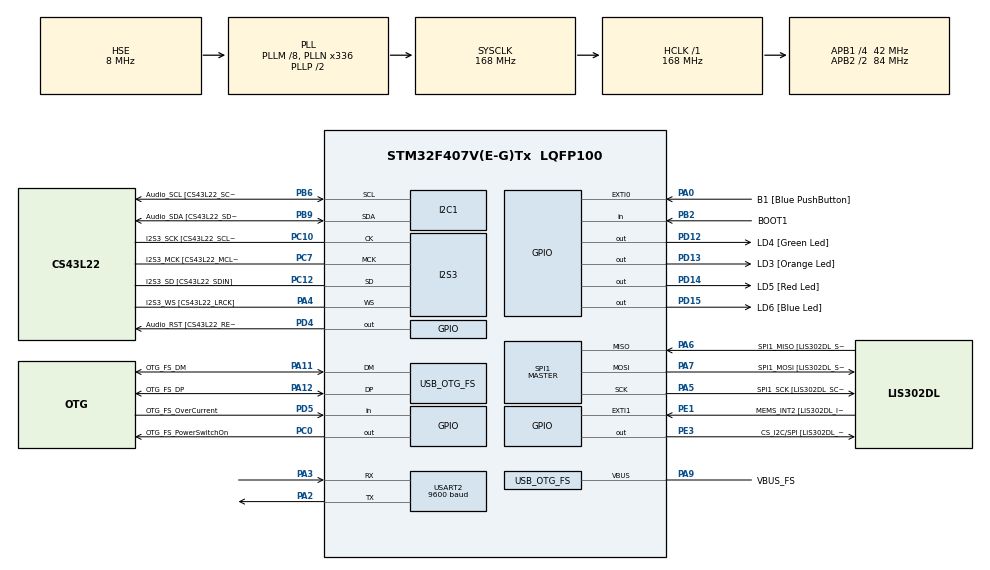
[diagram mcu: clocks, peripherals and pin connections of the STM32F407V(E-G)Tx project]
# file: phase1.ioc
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I2S3.AudioFreq-Half_Duplex_Master=I2S_AUDIOFREQ_96K
I2S3.ErrorAudioFreq=-2.34 %
I2S3.ErrorAudioFreq-Half_Duplex_Master=0.8 %
I2S3.FullDuplexMode=I2S_FULLDUPLEXMODE_DISABLE
I2S3.Instance=SPI$Index
I2S3.RealAudioFreq=93.75 KHz
I2S3.RealAudioFreq-Half_Duplex_Master=96.774 KHz
I2S3.VirtualMode=I2S_MODE_MASTER
Mcu.Family=STM32F4
Mcu.Name=STM32F407V(E-G)Tx
Mcu.Package=LQFP100
NVIC.OTG_FS_IRQn=true\:0\:0\:false\:false\:true\:true\:true\:true
NVIC.PriorityGroup=NVIC_PRIORITYGROUP_0
PA0-WKUP.GPIO_Label=B1 [Blue PushButton]
PA0-WKUP.GPIO_ModeDefaultEXTI=GPIO_MODE_EVT_RISING
PA0-WKUP.GPIO_PuPd=GPIO_NOPULL
PA0-WKUP.Signal=GPXTI0
PA10.GPIO_Label=OTG_FS_ID
PA10.GPIO_Mode=GPIO_MODE_AF_PP
PA10.GPIO_PuPd=GPIO_NOPULL
PA10.GPIO_Speed=GPIO_SPEED_FREQ_LOW
PA10.Signal=USB_OTG_FS_ID
PA11.GPIO_Label=OTG_FS_DM
PA11.GPIO_Mode=GPIO_MODE_AF_PP
PA11.GPIO_PuPd=GPIO_NOPULL
PA11.GPIO_Speed=GPIO_SPEED_FREQ_LOW
PA11.Mode=Host_Only
PA11.Signal=USB_OTG_FS_DM
PA12.GPIO_Label=OTG_FS_DP
PA12.GPIO_Mode=GPIO_MODE_AF_PP
PA12.GPIO_PuPd=GPIO_NOPULL
PA12.GPIO_Speed=GPIO_SPEED_FREQ_LOW
PA12.Mode=Host_Only
PA12.Signal=USB_OTG_FS_DP
PA13.GPIO_Label=SWDIO
PA13.Mode=Serial_Wire
PA13.Signal=SYS_JTMS-SWDIO
PA14.GPIO_Label=SWCLK
PA14.Mode=Serial_Wire
PA14.Signal=SYS_JTCK-SWCLK
PA2.Mode=Asynchronous
PA2.Signal=USART2_TX
PA3.Mode=Asynchronous
PA3.Signal=USART2_RX
PA4.GPIO_Label=I2S3_WS [CS43L22_LRCK]
PA4.GPIO_Mode=GPIO_MODE_AF_PP
PA4.GPIO_PuPd=GPIO_NOPULL
PA4.GPIO_Speed=GPIO_SPEED_FREQ_LOW
PA4.Mode=Half_Duplex_Master
PA4.Signal=I2S3_WS
PA5.GPIO_Label=SPI1_SCK [LIS302DL_SCL/SPC]
PA5.GPIO_Mode=GPIO_MODE_AF_PP
PA5.GPIO_PuPd=GPIO_NOPULL
PA5.GPIO_Speed=GPIO_SPEED_FREQ_LOW
PA5.Mode=Full_Duplex_Master
PA5.Signal=SPI1_SCK
PA6.GPIO_Label=SPI1_MISO [LIS302DL_SDO]
PA6.GPIO_Mode=GPIO_MODE_AF_PP
PA6.GPIO_PuPd=GPIO_NOPULL
PA6.GPIO_Speed=GPIO_SPEED_FREQ_LOW
PA6.Mode=Full_Duplex_Master
PA6.Signal=SPI1_MISO
PA7.GPIO_Label=SPI1_MOSI [LIS302DL_SDA/SDI/SDO]
PA7.GPIO_Mode=GPIO_MODE_AF_PP
PA7.GPIO_PuPd=GPIO_NOPULL
PA7.GPIO_Speed=GPIO_SPEED_FREQ_LOW
PA7.Mode=Full_Duplex_Master
PA7.Signal=SPI1_MOSI
PA9.GPIO_Label=VBUS_FS
PA9.GPIO_Mode=GPIO_MODE_INPUT
PA9.GPIO_PuPd=GPIO_NOPULL
PA9.Mode=Activate_VBUS
PA9.Signal=USB_OTG_FS_VBUS
PB10.GPIO_Label=CLK_IN [MP45DT02_CLK]
PB10.GPIO_Mode=GPIO_MODE_AF_PP
PB10.GPIO_PuPd=GPIO_NOPULL
PB10.GPIO_Speed=GPIO_SPEED_FREQ_LOW
PB10.Signal=I2S2_CK
PB2.GPIO_Label=BOOT1
PB2.GPIO_Mode=GPIO_MODE_INPUT
PB2.GPIO_PuPd=GPIO_NOPULL
PB2.Signal=GPIO_Input
PB3.GPIO_Label=SWO
PB3.Signal=SYS_JTDO-SWO
PB6.GPIO_Label=Audio_SCL [CS43L22_SCL]
PB6.GPIO_Mode=GPIO_MODE_AF_OD
PB6.GPIO_Pu=GPIO_PULLUP
PB6.GPIO_PuPd=GPIO_NOPULL
PB6.GPIO_Speed=GPIO_SPEED_FREQ_LOW
PB6.Mode=I2C
PB6.Signal=I2C1_SCL
PB9.GPIO_Label=Audio_SDA [CS43L22_SDA]
PB9.GPIO_Mode=GPIO_MODE_AF_OD
PB9.GPIO_Pu=GPIO_PULLUP
PB9.GPIO_PuPd=GPIO_NOPULL
PB9.GPIO_Speed=GPIO_SPEED_FREQ_LOW
PB9.Mode=I2C
PB9.Signal=I2C1_SDA
PC0.GPIO_Label=OTG_FS_PowerSwitchOn
PC0.GPIO_PuPd=GPIO_NOPULL
PC0.GPIO_Speed=GPIO_SPEED_FREQ_LOW
PC0.PinState=GPIO_PIN_SET
PC0.Signal=GPIO_Output
PC10.GPIO_Label=I2S3_SCK [CS43L22_SCLK]
PC10.GPIO_Mode=GPIO_MODE_AF_PP
PC10.GPIO_PuPd=GPIO_NOPULL
PC10.GPIO_Speed=GPIO_SPEED_FREQ_LOW
PC10.Mode=Half_Duplex_Master
PC10.Signal=I2S3_CK
PC12.GPIO_Label=I2S3_SD [CS43L22_SDIN]
PC12.GPIO_Mode=GPIO_MODE_AF_PP
PC12.GPIO_PuPd=GPIO_NOPULL
PC12.GPIO_Speed=GPIO_SPEED_FREQ_LOW
PC12.Mode=Half_Duplex_Master
PC12.Signal=I2S3_SD
PC14-OSC32_IN.GPIO_Label=PC14-OSC32_IN
PC14-OSC32_IN.Mode=LSE-External-Oscillator
PC14-OSC32_IN.Signal=RCC_OSC32_IN
PC15-OSC32_OUT.GPIO_Label=PC15-OSC32_OUT
PC15-OSC32_OUT.Mode=LSE-External-Oscillator
PC15-OSC32_OUT.Signal=RCC_OSC32_OUT
PC3.GPIO_Label=PDM_OUT [MP45DT02_DOUT]
PC3.GPIO_Mode=GPIO_MODE_AF_PP
PC3.GPIO_PuPd=GPIO_NOPULL
PC3.GPIO_Speed=GPIO_SPEED_FREQ_LOW
PC3.Signal=I2S2_SD
PC7.GPIO_Label=I2S3_MCK [CS43L22_MCLK]
PC7.GPIO_Mode=GPIO_MODE_AF_PP
PC7.GPIO_PuPd=GPIO_NOPULL
PC7.GPIO_Speed=GPIO_SPEED_FREQ_LOW
PC7.Mode=Master_Clock_Activated
PC7.Signal=I2S3_MCK
PD12.GPIO_Label=LD4 [Green Led]
PD12.GPIO_PuPd=GPIO_NOPULL
PD12.GPIO_Speed=GPIO_SPEED_FREQ_LOW
PD12.Signal=GPIO_Output
PD13.GPIO_Label=LD3 [Orange Led]
PD13.GPIO_PuPd=GPIO_NOPULL
PD13.GPIO_Speed=GPIO_SPEED_FREQ_LOW
PD13.Signal=GPIO_Output
PD14.GPIO_Label=LD5 [Red Led]
PD14.GPIO_PuPd=GPIO_NOPULL
PD14.GPIO_Speed=GPIO_SPEED_FREQ_LOW
PD14.Signal=GPIO_Output
PD15.GPIO_Label=LD6 [Blue Led]
PD15.GPIO_PuPd=GPIO_NOPULL
PD15.GPIO_Speed=GPIO_SPEED_FREQ_LOW
PD15.Signal=GPIO_Output
PD4.GPIO_Label=Audio_RST [CS43L22_RESET]
PD4.GPIO_PuPd=GPIO_NOPULL
PD4.GPIO_Speed=GPIO_SPEED_FREQ_LOW
PD4.Signal=GPIO_Output
PD5.GPIO_Label=OTG_FS_OverCurrent
PD5.GPIO_Mode=GPIO_MODE_INPUT
PD5.GPIO_PuPd=GPIO_NOPULL
PD5.Signal=GPIO_Input
PE1.GPIO_Label=MEMS_INT2 [LIS302DL_INT2]
PE1.GPIO_ModeDefaultEXTI=GPIO_MODE_EVT_RISING
PE1.GPIO_PuPd=GPIO_NOPULL
PE1.Signal=GPXTI1
PE3.GPIO_Label=CS_I2C/SPI [LIS302DL_CS_I2C/SPI]
PE3.GPIO_PuPd=GPIO_NOPULL
PE3.GPIO_Speed=GPIO_SPEED_FREQ_LOW
PE3.Signal=GPIO_Output
PH0-OSC_IN.GPIO_Label=PH0-OSC_IN
PH0-OSC_IN.Mode=HSE-External-Oscillator
PH0-OSC_IN.Signal=RCC_OSC_IN
PH1-OSC_OUT.GPIO_Label=PH1-OSC_OUT
PH1-OSC_OUT.Mode=HSE-External-Oscillator
PH1-OSC_OUT.Signal=RCC_OSC_OUT
ProjectManager.HeapSize=0x200
ProjectManager.StackSize=0x400
ProjectManager.TargetToolchain=STM32CubeIDE
RCC.48MHZClocksFreq_Value=48000000
RCC.AHBFreq_Value=168000000
RCC.APB1CLKDivider=RCC_HCLK_DIV4
RCC.APB1Freq_Value=42000000
RCC.APB1TimFreq_Value=84000000
RCC.APB2CLKDivider=RCC_HCLK_DIV2
RCC.APB2Freq_Value=84000000
RCC.APB2TimFreq_Value=168000000
RCC.CortexFreq_Value=168000000
RCC.HCLKFreq_Value=168000000
RCC.HSE_VALUE=8000000
RCC.HSI_VALUE=16000000
RCC.PLLM=8
RCC.PLLN=336
RCC.PLLQ=7
RCC.SYSCLKFreq_VALUE=168000000
RCC.SYSCLKSource=RCC_SYSCLKSOURCE_PLLCLK
RCC.VCOOutputFreq_Value=336000000
SPI1.BaudRatePrescaler-Full_Duplex_Master=SPI_BAUDRATEPRESCALER_2
SPI1.CalculateBaudRate-Full_Duplex_Master=42.0 MBits/s
SPI1.Direction=SPI_DIRECTION_2LINES
SPI1.Mode=SPI_MODE_MASTER
SPI1.Mode-Full_Duplex_Master=SPI_MODE_MASTER
SPI1.VirtualType=VM_MASTER
USART2.BaudRate=9600
USART2.VirtualMode=VM_ASYNC
USB_HOST.BSP.number=1
USB_HOST.USBH_HandleTypeDef-CDC_FS=hUsbHostFS
USB_HOST.VirtualModeFS=Cdc
USB_HOST0.BSP.STBoard=false
USB_HOST0.BSP.api=Unknown
USB_HOST0.BSP.instance=PC0
USB_HOST0.BSP.ip=GPIO
USB_HOST0.BSP.mode=Output
USB_HOST0.BSP.name=Drive_VBUS_FS
USB_HOST0.BSP.solution=PC0
USB_OTG_FS.VirtualMode=Host_Only
USB_OTG_FS.phy_itface=HCD_PHY_EMBEDDED
VP_USB_HOST_VS_USB_HOST_CDC_FS.Mode=CDC_FS
board=STM32F407G-DISC1

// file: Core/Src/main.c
/* USER CODE BEGIN Header */
/**
  ******************************************************************************
  * @file           : main.c
  * @brief          : VitalsPatch Phase 1 STM32 Receiver
  *
  * Receives newline-terminated VP1 packets from the HM-19 BLE module
  * through USART2. When a full VP1 packet is received, the STM32 toggles
  * the green onboard LED and echoes the packet back over USART2.
  *
  * Expected packet:
  * VP1,time,hr,spo2,temp,ax,ay,az,gx,gy,gz,checksum\n
  *
  * Wiring:
  * HM-19 TXD -> STM32 PA3 / USART2_RX
  * HM-19 RXD -> STM32 PA2 / USART2_TX
  * HM-19 GND -> STM32 GND
  ******************************************************************************
  */
/* USER CODE END Header */

#include "main.h"
#include "usb_host.h"

/* USER CODE BEGIN Includes */
#include <string.h>
#include <stdio.h>
/* USER CODE END Includes */

/* USER CODE BEGIN PD */
#define RX_LINE_SIZE 180
/* USER CODE END PD */

I2C_HandleTypeDef hi2c1;
I2S_HandleTypeDef hi2s3;
SPI_HandleTypeDef hspi1;
UART_HandleTypeDef huart2;

/* USER CODE BEGIN PV */
uint8_t rx_byte;
char rx_line[RX_LINE_SIZE];
uint16_t rx_index = 0;
/* USER CODE END PV */

void SystemClock_Config(void);
static void MX_GPIO_Init(void);
static void MX_I2C1_Init(void);
static void MX_I2S3_Init(void);
static void MX_SPI1_Init(void);
static void MX_USART2_UART_Init(void);
void MX_USB_HOST_Process(void);

/* USER CODE BEGIN PFP */
static void uart_send_string(const char *msg);
static void process_received_line(char *line);
/* USER CODE END PFP */

/* USER CODE BEGIN 0 */

static void uart_send_string(const char *msg)
{
  HAL_UART_Transmit(&huart2, (uint8_t *)msg, strlen(msg), HAL_MAX_DELAY);
}

static void process_received_line(char *line)
{
  if (strncmp(line, "VP1,", 4) == 0)
  {
    HAL_GPIO_TogglePin(LD4_GPIO_Port, LD4_Pin);

    uart_send_string("RX VP1: ");
    uart_send_string(line);
    uart_send_string("\r\n");
  }
  else
  {
    uart_send_string("RX OTHER: ");
    uart_send_string(line);
    uart_send_string("\r\n");
  }
}

/* USER CODE END 0 */

int main(void)
{
  /* MCU Configuration--------------------------------------------------------*/

  HAL_Init();

  SystemClock_Config();

  MX_GPIO_Init();
  MX_I2C1_Init();
  MX_I2S3_Init();
  MX_SPI1_Init();
  MX_USB_HOST_Init();
  MX_USART2_UART_Init();

  /* USER CODE BEGIN 2 */
  HAL_GPIO_WritePin(LD4_GPIO_Port, LD4_Pin, GPIO_PIN_RESET);

  uart_send_string("\r\nSTM32 VitalsPatch receiver started\r\n");
  uart_send_string("Waiting for VP1 packets over USART2...\r\n");
  /* USER CODE END 2 */

  /* Infinite loop */
  /* USER CODE BEGIN WHILE */
  while (1)
  {
    MX_USB_HOST_Process();

    /*
     * Non-blocking-ish receive:
     * Waits up to 10 ms for one byte.
     * This keeps USB host process from getting stuck forever.
     */
    if (HAL_UART_Receive(&huart2, &rx_byte, 1, 10) == HAL_OK)
    {
      if (rx_byte == '\n')
      {
        rx_line[rx_index] = '\0';
        process_received_line(rx_line);
        rx_index = 0;
      }
      else if (rx_byte != '\r')
      {
        if (rx_index < RX_LINE_SIZE - 1)
        {
          rx_line[rx_index++] = rx_byte;
        }
        else
        {
          rx_index = 0;
          uart_send_string("RX BUFFER OVERFLOW\r\n");
        }
      }
    }

    /* USER CODE END WHILE */

  }
}

void SystemClock_Config(void)
{
  RCC_OscInitTypeDef RCC_OscInitStruct = {0};
  RCC_ClkInitTypeDef RCC_ClkInitStruct = {0};

  __HAL_RCC_PWR_CLK_ENABLE();
  __HAL_PWR_VOLTAGESCALING_CONFIG(PWR_REGULATOR_VOLTAGE_SCALE1);

  RCC_OscInitStruct.OscillatorType = RCC_OSCILLATORTYPE_HSE;
  RCC_OscInitStruct.HSEState = RCC_HSE_ON;
  RCC_OscInitStruct.PLL.PLLState = RCC_PLL_ON;
  RCC_OscInitStruct.PLL.PLLSource = RCC_PLLSOURCE_HSE;
  RCC_OscInitStruct.PLL.PLLM = 8;
  RCC_OscInitStruct.PLL.PLLN = 336;
  RCC_OscInitStruct.PLL.PLLP = RCC_PLLP_DIV2;
  RCC_OscInitStruct.PLL.PLLQ = 7;

  if (HAL_RCC_OscConfig(&RCC_OscInitStruct) != HAL_OK)
  {
    Error_Handler();
  }

  RCC_ClkInitStruct.ClockType = RCC_CLOCKTYPE_HCLK |
                                RCC_CLOCKTYPE_SYSCLK |
                                RCC_CLOCKTYPE_PCLK1 |
                                RCC_CLOCKTYPE_PCLK2;

  RCC_ClkInitStruct.SYSCLKSource = RCC_SYSCLKSOURCE_PLLCLK;
  RCC_ClkInitStruct.AHBCLKDivider = RCC_SYSCLK_DIV1;
  RCC_ClkInitStruct.APB1CLKDivider = RCC_HCLK_DIV4;
  RCC_ClkInitStruct.APB2CLKDivider = RCC_HCLK_DIV2;

  if (HAL_RCC_ClockConfig(&RCC_ClkInitStruct, FLASH_LATENCY_5) != HAL_OK)
  {
    Error_Handler();
  }
}

static void MX_I2C1_Init(void)
{
  hi2c1.Instance = I2C1;
  hi2c1.Init.ClockSpeed = 100000;
  hi2c1.Init.DutyCycle = I2C_DUTYCYCLE_2;
  hi2c1.Init.OwnAddress1 = 0;
  hi2c1.Init.AddressingMode = I2C_ADDRESSINGMODE_7BIT;
  hi2c1.Init.DualAddressMode = I2C_DUALADDRESS_DISABLE;
  hi2c1.Init.OwnAddress2 = 0;
  hi2c1.Init.GeneralCallMode = I2C_GENERALCALL_DISABLE;
  hi2c1.Init.NoStretchMode = I2C_NOSTRETCH_DISABLE;

  if (HAL_I2C_Init(&hi2c1) != HAL_OK)
  {
    Error_Handler();
  }
}

static void MX_I2S3_Init(void)
{
  hi2s3.Instance = SPI3;
  hi2s3.Init.Mode = I2S_MODE_MASTER_TX;
  hi2s3.Init.Standard = I2S_STANDARD_PHILIPS;
  hi2s3.Init.DataFormat = I2S_DATAFORMAT_16B;
  hi2s3.Init.MCLKOutput = I2S_MCLKOUTPUT_ENABLE;
  hi2s3.Init.AudioFreq = I2S_AUDIOFREQ_96K;
  hi2s3.Init.CPOL = I2S_CPOL_LOW;
  hi2s3.Init.ClockSource = I2S_CLOCK_PLL;
  hi2s3.Init.FullDuplexMode = I2S_FULLDUPLEXMODE_DISABLE;

  if (HAL_I2S_Init(&hi2s3) != HAL_OK)
  {
    Error_Handler();
  }
}

static void MX_SPI1_Init(void)
{
  hspi1.Instance = SPI1;
  hspi1.Init.Mode = SPI_MODE_MASTER;
  hspi1.Init.Direction = SPI_DIRECTION_2LINES;
  hspi1.Init.DataSize = SPI_DATASIZE_8BIT;
  hspi1.Init.CLKPolarity = SPI_POLARITY_LOW;
  hspi1.Init.CLKPhase = SPI_PHASE_1EDGE;
  hspi1.Init.NSS = SPI_NSS_SOFT;
  hspi1.Init.BaudRatePrescaler = SPI_BAUDRATEPRESCALER_2;
  hspi1.Init.FirstBit = SPI_FIRSTBIT_MSB;
  hspi1.Init.TIMode = SPI_TIMODE_DISABLE;
  hspi1.Init.CRCCalculation = SPI_CRCCALCULATION_DISABLE;
  hspi1.Init.CRCPolynomial = 10;

  if (HAL_SPI_Init(&hspi1) != HAL_OK)
  {
    Error_Handler();
  }
}

static void MX_USART2_UART_Init(void)
{
  huart2.Instance = USART2;

  /*
   * IMPORTANT:
   * This must match the HM-19 UART baud rate.
   * If your HM-19 is set to 115200, change this back to 115200.
   */
  huart2.Init.BaudRate = 9600;

  huart2.Init.WordLength = UART_WORDLENGTH_8B;
  huart2.Init.StopBits = UART_STOPBITS_1;
  huart2.Init.Parity = UART_PARITY_NONE;
  huart2.Init.Mode = UART_MODE_TX_RX;
  huart2.Init.HwFlowCtl = UART_HWCONTROL_NONE;
  huart2.Init.OverSampling = UART_OVERSAMPLING_16;

  if (HAL_UART_Init(&huart2) != HAL_OK)
  {
    Error_Handler();
  }
}

static void MX_GPIO_Init(void)
{
  GPIO_InitTypeDef GPIO_InitStruct = {0};

  __HAL_RCC_GPIOE_CLK_ENABLE();
  __HAL_RCC_GPIOC_CLK_ENABLE();
  __HAL_RCC_GPIOH_CLK_ENABLE();
  __HAL_RCC_GPIOA_CLK_ENABLE();
  __HAL_RCC_GPIOB_CLK_ENABLE();
  __HAL_RCC_GPIOD_CLK_ENABLE();

  HAL_GPIO_WritePin(CS_I2C_SPI_GPIO_Port, CS_I2C_SPI_Pin, GPIO_PIN_RESET);
  HAL_GPIO_WritePin(OTG_FS_PowerSwitchOn_GPIO_Port, OTG_FS_PowerSwitchOn_Pin, GPIO_PIN_SET);

  HAL_GPIO_WritePin(GPIOD,
                    LD4_Pin | LD3_Pin | LD5_Pin | LD6_Pin | Audio_RST_Pin,
                    GPIO_PIN_RESET);

  GPIO_InitStruct.Pin = CS_I2C_SPI_Pin;
  GPIO_InitStruct.Mode = GPIO_MODE_OUTPUT_PP;
  GPIO_InitStruct.Pull = GPIO_NOPULL;
  GPIO_InitStruct.Speed = GPIO_SPEED_FREQ_LOW;
  HAL_GPIO_Init(CS_I2C_SPI_GPIO_Port, &GPIO_InitStruct);

  GPIO_InitStruct.Pin = OTG_FS_PowerSwitchOn_Pin;
  GPIO_InitStruct.Mode = GPIO_MODE_OUTPUT_PP;
  GPIO_InitStruct.Pull = GPIO_NOPULL;
  GPIO_InitStruct.Speed = GPIO_SPEED_FREQ_LOW;
  HAL_GPIO_Init(OTG_FS_PowerSwitchOn_GPIO_Port, &GPIO_InitStruct);

  GPIO_InitStruct.Pin = PDM_OUT_Pin;
  GPIO_InitStruct.Mode = GPIO_MODE_AF_PP;
  GPIO_InitStruct.Pull = GPIO_NOPULL;
  GPIO_InitStruct.Speed = GPIO_SPEED_FREQ_LOW;
  GPIO_InitStruct.Alternate = GPIO_AF5_SPI2;
  HAL_GPIO_Init(PDM_OUT_GPIO_Port, &GPIO_InitStruct);

  GPIO_InitStruct.Pin = B1_Pin;
  GPIO_InitStruct.Mode = GPIO_MODE_EVT_RISING;
  GPIO_InitStruct.Pull = GPIO_NOPULL;
  HAL_GPIO_Init(B1_GPIO_Port, &GPIO_InitStruct);

  GPIO_InitStruct.Pin = BOOT1_Pin;
  GPIO_InitStruct.Mode = GPIO_MODE_INPUT;
  GPIO_InitStruct.Pull = GPIO_NOPULL;
  HAL_GPIO_Init(BOOT1_GPIO_Port, &GPIO_InitStruct);

  GPIO_InitStruct.Pin = CLK_IN_Pin;
  GPIO_InitStruct.Mode = GPIO_MODE_AF_PP;
  GPIO_InitStruct.Pull = GPIO_NOPULL;
  GPIO_InitStruct.Speed = GPIO_SPEED_FREQ_LOW;
  GPIO_InitStruct.Alternate = GPIO_AF5_SPI2;
  HAL_GPIO_Init(CLK_IN_GPIO_Port, &GPIO_InitStruct);

  GPIO_InitStruct.Pin = LD4_Pin | LD3_Pin | LD5_Pin | LD6_Pin | Audio_RST_Pin;
  GPIO_InitStruct.Mode = GPIO_MODE_OUTPUT_PP;
  GPIO_InitStruct.Pull = GPIO_NOPULL;
  GPIO_InitStruct.Speed = GPIO_SPEED_FREQ_LOW;
  HAL_GPIO_Init(GPIOD, &GPIO_InitStruct);

  GPIO_InitStruct.Pin = OTG_FS_OverCurrent_Pin;
  GPIO_InitStruct.Mode = GPIO_MODE_INPUT;
  GPIO_InitStruct.Pull = GPIO_NOPULL;
  HAL_GPIO_Init(OTG_FS_OverCurrent_GPIO_Port, &GPIO_InitStruct);

  GPIO_InitStruct.Pin = MEMS_INT2_Pin;
  GPIO_InitStruct.Mode = GPIO_MODE_EVT_RISING;
  GPIO_InitStruct.Pull = GPIO_NOPULL;
  HAL_GPIO_Init(MEMS_INT2_GPIO_Port, &GPIO_InitStruct);
}

void Error_Handler(void)
{
  __disable_irq();

  while (1)
  {
    HAL_GPIO_TogglePin(LD4_GPIO_Port, LD4_Pin);
    HAL_Delay(200);
  }
}
